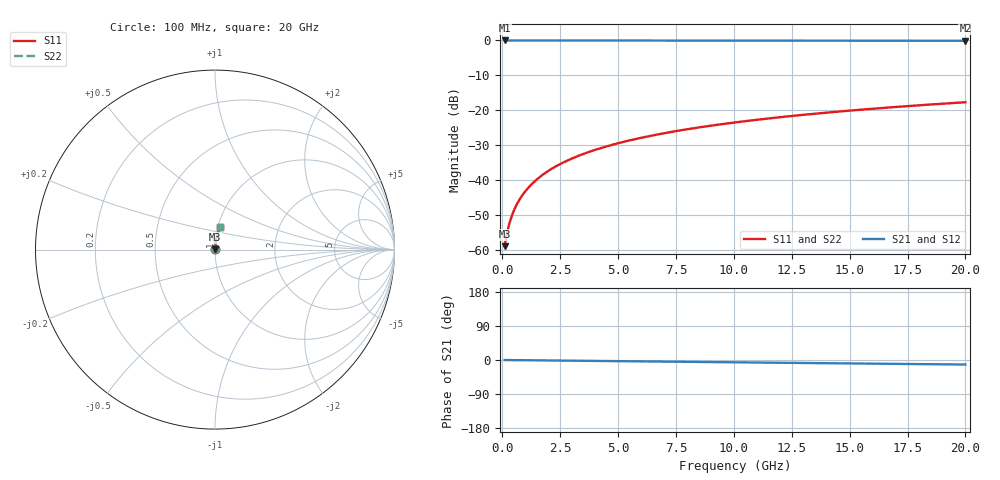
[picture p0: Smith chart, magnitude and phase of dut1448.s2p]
! Touchstone file exported from HFSS 2026.1.0
!  File:  C:/ffzhzh/LocalFiles/Ansys_Project_Files/temp_train_TMRDL_1448_1783167129_43440.aedt
!  Generated:  08:13:19 PM Jul  4, 2026
!  Design:  TMRDL
!  Project:  temp_train_TMRDL_1448_1783167129_43440
! Variables:
!  h_bsmrdl = 2um
!  h_ox = 20um
!  h_rdl = 5um
!  h_sub = 80um
!  h_tmrdl = 2.85um
!  h_tsv = 80um
!  h_via = 3um
!  l_bsmrdl = 300um
!  l_sub = 520.06um
!  l_tmrdl = 120.06um
!  m_sub = 200um
!  pitch = 58.3um
!  r_tsv = 6um
!  s_tmrdl = 10um
!  w_bsmrdl = 18um
!  w_sub = 500um
!  w_tmrdl = 28.15um
!  x_tsv_center1 = 134.135um
!  x_tsv_center2 = 452.135um
!  x_tsv_center3 = 600.345um
!  x_tsv_center4 = 918.345um
!  x_tsv_center5 = 1066.555um
!  x_tsv_center6 = 1384.555um
# GHz S MA R 50.000000
! Terminal data exported
! Port[1] = TM_RDL1_1_T1
! Port[2] = TM_RDL1_1_T2
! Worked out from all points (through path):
!   200 points, 100 MHz to 20 GHz, reference 50 ohm
!   highest |S21| = -0.01 dB at 100 MHz (marker M1); lowest = -0.1 dB at 20 GHz (marker M2)
!   group delay of S21, straight-line fit = 1.67 ps
!   lowest |S11| = -59.0 dB at 100 MHz (marker M3), VSWR 1.00, Z = 50.1 + j0.0733 ohm
!   |S11| at or under -10 dB: start of sweep to end of sweep
!   |S22| runs from -59.0 to -17.7 dB; largest |S21 - S12| = 3.2e-15
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0.1  0.001127 40.5  0.9991 -0.1  0.9991 -0.1  0.001127 40.5
! Gamma 0 0 0 0
! Port Impedance 50 0 50 0
0.2  0.001702 58.4  0.9991 -0.1  0.9991 -0.1  0.001702 58.4
0.3  0.002342 66.4  0.9991 -0.2  0.9991 -0.2  0.002341 66.4
0.4  0.002993 70.9  0.999 -0.3  0.999 -0.3  0.002993 70.9
0.5  0.003645 73.8  0.999 -0.3  0.999 -0.3  0.003645 73.8
0.6  0.004298 75.9  0.999 -0.4  0.999 -0.4  0.004298 75.9
0.8  0.005609 78.6  0.9989 -0.5  0.9989 -0.5  0.005609 78.6
1.1  0.007588 81.0  0.9989 -0.7  0.9989 -0.7  0.007588 81.0
1.5  0.01025 82.8  0.9988 -0.9  0.9988 -0.9  0.01025 82.8
1.8  0.01225 83.5  0.9988 -1.1  0.9988 -1.1  0.01225 83.5
2.1  0.01425 84.0  0.9987 -1.3  0.9987 -1.3  0.01425 84.0
2.7  0.01826 84.6  0.9986 -1.7  0.9986 -1.7  0.01826 84.6
3.5  0.02361 84.8  0.9984 -2.1  0.9984 -2.1  0.02361 84.8
4.2  0.02829 84.7  0.9983 -2.6  0.9983 -2.6  0.02829 84.7
5  0.03362 84.5  0.998 -3.1  0.998 -3.1  0.03362 84.5
5.9  0.03959 84.2  0.9977 -3.6  0.9977 -3.6  0.03959 84.2
6.8  0.04554 83.8  0.9973 -4.1  0.9973 -4.1  0.04554 83.8
8.3  0.05541 83.0  0.9966 -5.0  0.9966 -5.0  0.05541 83.0
10.1  0.06716 82.1  0.9957 -6.1  0.9957 -6.1  0.06716 82.1
13.4  0.08846 80.3  0.9936 -8.1  0.9936 -8.1  0.08846 80.3
16.7  0.1095 78.5  0.9912 -10.1  0.9912 -10.1  0.1095 78.5
20  0.1302 76.6  0.9884 -12.0  0.9884 -12.0  0.1302 76.6
